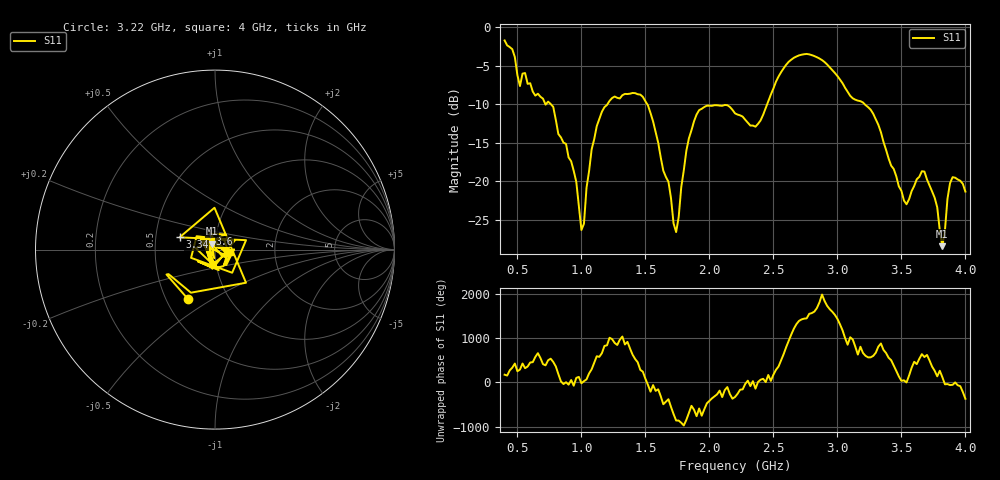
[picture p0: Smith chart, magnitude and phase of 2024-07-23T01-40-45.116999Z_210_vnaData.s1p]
!Created with skrf (http://scikit-rf.org).
# Hz S RI R 50.0
!freq ReS11 ImS11
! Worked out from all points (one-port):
!   181 points, 400 MHz to 4 GHz, reference 50 ohm
!   lowest |S11| = -28.4 dB at 3.82 GHz (marker M1), VSWR 1.08, Z = 48.1 + j3.18 ohm
!   |S11| at or under -10 dB: 763.3 MHz to 1.202 GHz (438.8 MHz wide, 44.7 % of centre); 1.516 GHz to 2.45 GHz (934.2 MHz wide, 47.1 % of centre); 3.215 GHz to end of sweep (the widest 3 of 4)
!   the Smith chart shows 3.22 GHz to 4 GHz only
!   S11 on the Smith chart (normalised r, x): 3.22 GHz: 0.64, -0.39; 3.34 GHz: 0.66, +0.09; 3.6 GHz: 0.93, +0.17; 4 GHz: 1.18, -0.03
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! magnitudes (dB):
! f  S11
! 400 MHz  -1.7
! 520 MHz  -7.6
! 780 MHz  -10.3
! 860 MHz  -15.0
! 960 MHz  -20.0
! 1 GHz  -26.3
! 1.12 GHz  -12.8
! 1.3 GHz  -9.2
! 1.52 GHz  -10.1
! 1.68 GHz  -20.0
! 1.72 GHz  -25.4
! 1.76 GHz  -24.6
! 1.82 GHz  -16.0
! 1.9 GHz  -11.3
! 2.2 GHz  -11.2
! 2.36 GHz  -12.9
! 2.66 GHz  -3.9
! 2.88 GHz  -4.2
! 3.1 GHz  -8.9
! 3.22 GHz  -10.1
! 3.34 GHz  -13.6
! 3.56 GHz  -22.3
! 3.6 GHz  -20.6
! 3.68 GHz  -18.7
! 3.78 GHz  -23.4
! 3.82 GHz  -28.4
! 3.88 GHz  -20.2
! 4 GHz  -21.3
